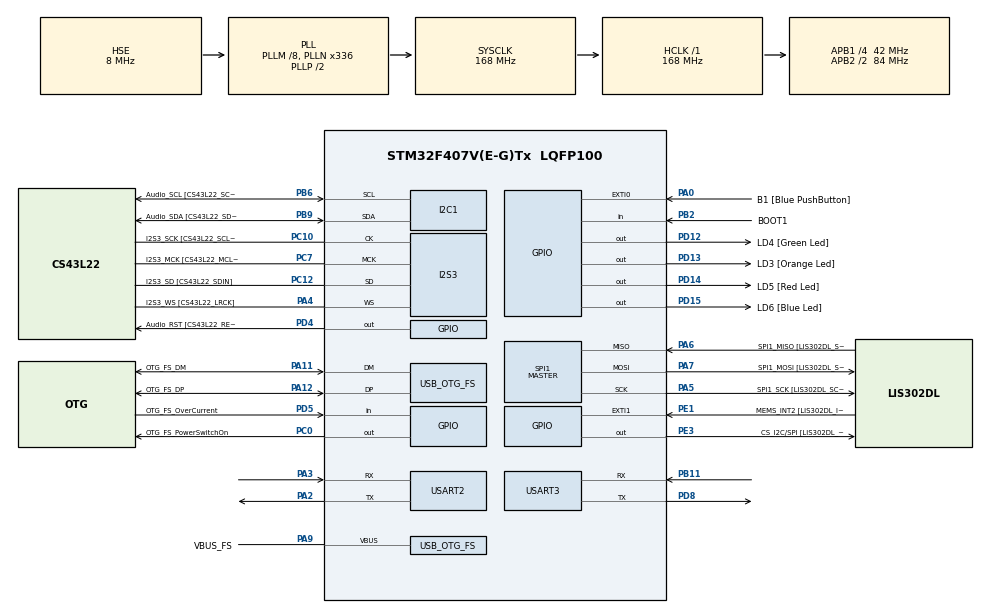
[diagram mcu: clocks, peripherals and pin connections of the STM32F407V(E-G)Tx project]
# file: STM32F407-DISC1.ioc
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I2S3.AudioFreq-Half_Duplex_Master=I2S_AUDIOFREQ_96K
I2S3.ErrorAudioFreq=-2.34 %
I2S3.ErrorAudioFreq-Half_Duplex_Master=0.8 %
I2S3.FullDuplexMode=I2S_FULLDUPLEXMODE_DISABLE
I2S3.Instance=SPI$Index
I2S3.RealAudioFreq=93.75 KHz
I2S3.RealAudioFreq-Half_Duplex_Master=96.774 KHz
I2S3.VirtualMode=I2S_MODE_MASTER
Mcu.Family=STM32F4
Mcu.Name=STM32F407V(E-G)Tx
Mcu.Package=LQFP100
NVIC.EXTI0_IRQn=true\:0\:0\:false\:false\:true\:true\:true\:true
NVIC.OTG_FS_IRQn=true\:0\:0\:false\:false\:true\:true\:true\:true
NVIC.PriorityGroup=NVIC_PRIORITYGROUP_0
NVIC.USART2_IRQn=true\:0\:0\:false\:false\:true\:true\:true\:true
NVIC.USART3_IRQn=true\:0\:0\:false\:false\:true\:true\:true\:true
PA0-WKUP.GPIO_Label=B1 [Blue PushButton]
PA0-WKUP.GPIO_ModeDefaultEXTI=GPIO_MODE_IT_RISING
PA0-WKUP.GPIO_PuPd=GPIO_NOPULL
PA0-WKUP.Signal=GPXTI0
PA10.GPIO_Label=OTG_FS_ID
PA10.GPIO_Mode=GPIO_MODE_AF_PP
PA10.GPIO_PuPd=GPIO_NOPULL
PA10.GPIO_Speed=GPIO_SPEED_FREQ_LOW
PA10.Signal=USB_OTG_FS_ID
PA11.GPIO_Label=OTG_FS_DM
PA11.GPIO_Mode=GPIO_MODE_AF_PP
PA11.GPIO_PuPd=GPIO_NOPULL
PA11.GPIO_Speed=GPIO_SPEED_FREQ_LOW
PA11.Mode=Host_Only
PA11.Signal=USB_OTG_FS_DM
PA12.GPIO_Label=OTG_FS_DP
PA12.GPIO_Mode=GPIO_MODE_AF_PP
PA12.GPIO_PuPd=GPIO_NOPULL
PA12.GPIO_Speed=GPIO_SPEED_FREQ_LOW
PA12.Mode=Host_Only
PA12.Signal=USB_OTG_FS_DP
PA13.GPIO_Label=SWDIO
PA13.Mode=Serial_Wire
PA13.Signal=SYS_JTMS-SWDIO
PA14.GPIO_Label=SWCLK
PA14.Mode=Serial_Wire
PA14.Signal=SYS_JTCK-SWCLK
PA2.Mode=Asynchronous
PA2.Signal=USART2_TX
PA3.GPIO_PuPd=GPIO_PULLUP
PA3.Mode=Asynchronous
PA3.Signal=USART2_RX
PA4.GPIO_Label=I2S3_WS [CS43L22_LRCK]
PA4.GPIO_Mode=GPIO_MODE_AF_PP
PA4.GPIO_PuPd=GPIO_NOPULL
PA4.GPIO_Speed=GPIO_SPEED_FREQ_LOW
PA4.Mode=Half_Duplex_Master
PA4.Signal=I2S3_WS
PA5.GPIO_Label=SPI1_SCK [LIS302DL_SCL/SPC]
PA5.GPIO_Mode=GPIO_MODE_AF_PP
PA5.GPIO_PuPd=GPIO_NOPULL
PA5.GPIO_Speed=GPIO_SPEED_FREQ_LOW
PA5.Mode=Full_Duplex_Master
PA5.Signal=SPI1_SCK
PA6.GPIO_Label=SPI1_MISO [LIS302DL_SDO]
PA6.GPIO_Mode=GPIO_MODE_AF_PP
PA6.GPIO_PuPd=GPIO_NOPULL
PA6.GPIO_Speed=GPIO_SPEED_FREQ_LOW
PA6.Mode=Full_Duplex_Master
PA6.Signal=SPI1_MISO
PA7.GPIO_Label=SPI1_MOSI [LIS302DL_SDA/SDI/SDO]
PA7.GPIO_Mode=GPIO_MODE_AF_PP
PA7.GPIO_PuPd=GPIO_NOPULL
PA7.GPIO_Speed=GPIO_SPEED_FREQ_LOW
PA7.Mode=Full_Duplex_Master
PA7.Signal=SPI1_MOSI
PA9.GPIO_Label=VBUS_FS
PA9.GPIO_Mode=GPIO_MODE_INPUT
PA9.GPIO_PuPd=GPIO_NOPULL
PA9.Mode=Activate_VBUS
PA9.Signal=USB_OTG_FS_VBUS
PB10.GPIO_Label=CLK_IN [MP45DT02_CLK]
PB10.GPIO_Mode=GPIO_MODE_AF_PP
PB10.GPIO_PuPd=GPIO_NOPULL
PB10.GPIO_Speed=GPIO_SPEED_FREQ_LOW
PB10.Signal=I2S2_CK
PB11.Mode=Asynchronous
PB11.Signal=USART3_RX
PB2.GPIO_Label=BOOT1
PB2.GPIO_Mode=GPIO_MODE_INPUT
PB2.GPIO_PuPd=GPIO_NOPULL
PB2.Signal=GPIO_Input
PB3.GPIO_Label=SWO
PB3.Signal=SYS_JTDO-SWO
PB6.GPIO_Label=Audio_SCL [CS43L22_SCL]
PB6.GPIO_Mode=GPIO_MODE_AF_OD
PB6.GPIO_Pu=GPIO_PULLUP
PB6.GPIO_PuPd=GPIO_NOPULL
PB6.GPIO_Speed=GPIO_SPEED_FREQ_LOW
PB6.Mode=I2C
PB6.Signal=I2C1_SCL
PB9.GPIO_Label=Audio_SDA [CS43L22_SDA]
PB9.GPIO_Mode=GPIO_MODE_AF_OD
PB9.GPIO_Pu=GPIO_PULLUP
PB9.GPIO_PuPd=GPIO_NOPULL
PB9.GPIO_Speed=GPIO_SPEED_FREQ_LOW
PB9.Mode=I2C
PB9.Signal=I2C1_SDA
PC0.GPIO_Label=OTG_FS_PowerSwitchOn
PC0.GPIO_PuPd=GPIO_NOPULL
PC0.GPIO_Speed=GPIO_SPEED_FREQ_LOW
PC0.PinState=GPIO_PIN_SET
PC0.Signal=GPIO_Output
PC10.GPIO_Label=I2S3_SCK [CS43L22_SCLK]
PC10.GPIO_Mode=GPIO_MODE_AF_PP
PC10.GPIO_PuPd=GPIO_NOPULL
PC10.GPIO_Speed=GPIO_SPEED_FREQ_LOW
PC10.Mode=Half_Duplex_Master
PC10.Signal=I2S3_CK
PC12.GPIO_Label=I2S3_SD [CS43L22_SDIN]
PC12.GPIO_Mode=GPIO_MODE_AF_PP
PC12.GPIO_PuPd=GPIO_NOPULL
PC12.GPIO_Speed=GPIO_SPEED_FREQ_LOW
PC12.Mode=Half_Duplex_Master
PC12.Signal=I2S3_SD
PC14-OSC32_IN.GPIO_Label=PC14-OSC32_IN
PC14-OSC32_IN.Mode=LSE-External-Oscillator
PC14-OSC32_IN.Signal=RCC_OSC32_IN
PC15-OSC32_OUT.GPIO_Label=PC15-OSC32_OUT
PC15-OSC32_OUT.Mode=LSE-External-Oscillator
PC15-OSC32_OUT.Signal=RCC_OSC32_OUT
PC3.GPIO_Label=PDM_OUT [MP45DT02_DOUT]
PC3.GPIO_Mode=GPIO_MODE_AF_PP
PC3.GPIO_PuPd=GPIO_NOPULL
PC3.GPIO_Speed=GPIO_SPEED_FREQ_LOW
PC3.Signal=I2S2_SD
PC7.GPIO_Label=I2S3_MCK [CS43L22_MCLK]
PC7.GPIO_Mode=GPIO_MODE_AF_PP
PC7.GPIO_PuPd=GPIO_NOPULL
PC7.GPIO_Speed=GPIO_SPEED_FREQ_LOW
PC7.Mode=Master_Clock_Activated
PC7.Signal=I2S3_MCK
PD12.GPIO_Label=LD4 [Green Led]
PD12.GPIO_PuPd=GPIO_NOPULL
PD12.GPIO_Speed=GPIO_SPEED_FREQ_LOW
PD12.Signal=GPIO_Output
PD13.GPIO_Label=LD3 [Orange Led]
PD13.GPIO_PuPd=GPIO_NOPULL
PD13.GPIO_Speed=GPIO_SPEED_FREQ_LOW
PD13.Signal=GPIO_Output
PD14.GPIO_Label=LD5 [Red Led]
PD14.GPIO_PuPd=GPIO_NOPULL
PD14.GPIO_Speed=GPIO_SPEED_FREQ_LOW
PD14.Signal=GPIO_Output
PD15.GPIO_Label=LD6 [Blue Led]
PD15.GPIO_PuPd=GPIO_NOPULL
PD15.GPIO_Speed=GPIO_SPEED_FREQ_LOW
PD15.Signal=GPIO_Output
PD4.GPIO_Label=Audio_RST [CS43L22_RESET]
PD4.GPIO_PuPd=GPIO_NOPULL
PD4.GPIO_Speed=GPIO_SPEED_FREQ_LOW
PD4.Signal=GPIO_Output
PD5.GPIO_Label=OTG_FS_OverCurrent
PD5.GPIO_Mode=GPIO_MODE_INPUT
PD5.GPIO_PuPd=GPIO_NOPULL
PD5.Signal=GPIO_Input
PD8.Mode=Asynchronous
PD8.Signal=USART3_TX
PE1.GPIO_Label=MEMS_INT2 [LIS302DL_INT2]
PE1.GPIO_ModeDefaultEXTI=GPIO_MODE_EVT_RISING
PE1.GPIO_PuPd=GPIO_NOPULL
PE1.Signal=GPXTI1
PE3.GPIO_Label=CS_I2C/SPI [LIS302DL_CS_I2C/SPI]
PE3.GPIO_PuPd=GPIO_NOPULL
PE3.GPIO_Speed=GPIO_SPEED_FREQ_LOW
PE3.Signal=GPIO_Output
PH0-OSC_IN.GPIO_Label=PH0-OSC_IN
PH0-OSC_IN.Mode=HSE-External-Oscillator
PH0-OSC_IN.Signal=RCC_OSC_IN
PH1-OSC_OUT.GPIO_Label=PH1-OSC_OUT
PH1-OSC_OUT.Mode=HSE-External-Oscillator
PH1-OSC_OUT.Signal=RCC_OSC_OUT
ProjectManager.HeapSize=0x200
ProjectManager.StackSize=0x400
ProjectManager.TargetToolchain=STM32CubeIDE
RCC.48MHZClocksFreq_Value=48000000
RCC.AHBFreq_Value=168000000
RCC.APB1CLKDivider=RCC_HCLK_DIV4
RCC.APB1Freq_Value=42000000
RCC.APB1TimFreq_Value=84000000
RCC.APB2CLKDivider=RCC_HCLK_DIV2
RCC.APB2Freq_Value=84000000
RCC.APB2TimFreq_Value=168000000
RCC.CortexFreq_Value=168000000
RCC.HCLKFreq_Value=168000000
RCC.HSE_VALUE=8000000
RCC.HSI_VALUE=16000000
RCC.PLLM=8
RCC.PLLN=336
RCC.PLLQ=7
RCC.SYSCLKFreq_VALUE=168000000
RCC.SYSCLKSource=RCC_SYSCLKSOURCE_PLLCLK
RCC.VCOOutputFreq_Value=336000000
SPI1.BaudRatePrescaler-Full_Duplex_Master=SPI_BAUDRATEPRESCALER_2
SPI1.CalculateBaudRate-Full_Duplex_Master=42.0 MBits/s
SPI1.Direction=SPI_DIRECTION_2LINES
SPI1.Mode=SPI_MODE_MASTER
SPI1.Mode-Full_Duplex_Master=SPI_MODE_MASTER
SPI1.VirtualType=VM_MASTER
USART2.VirtualMode=VM_ASYNC
USART3.VirtualMode=VM_ASYNC
USB_HOST.BSP.number=1
USB_HOST.USBH_HandleTypeDef-CDC_FS=hUsbHostFS
USB_HOST.VirtualModeFS=Cdc
USB_HOST0.BSP.STBoard=false
USB_HOST0.BSP.api=Unknown
USB_HOST0.BSP.instance=PC0
USB_HOST0.BSP.ip=GPIO
USB_HOST0.BSP.mode=Output
USB_HOST0.BSP.name=Drive_VBUS_FS
USB_HOST0.BSP.solution=PC0
USB_OTG_FS.VirtualMode=Host_Only
USB_OTG_FS.phy_itface=HCD_PHY_EMBEDDED
VP_USB_HOST_VS_USB_HOST_CDC_FS.Mode=CDC_FS
board=STM32F407G-DISC1

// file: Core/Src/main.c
/* USER CODE BEGIN Header */
/**
  ******************************************************************************
  * @file           : main.c
  * @brief          : Main program body
  ******************************************************************************
  * @attention
  *
  * Copyright (c) 2025 STMicroelectronics.
  * All rights reserved.
  *
  * This software is licensed under terms that can be found in the LICENSE file
  * in the root directory of this software component.
  * If no LICENSE file comes with this software, it is provided AS-IS.
  *
  ******************************************************************************
  */
/* USER CODE END Header */
#include "main.h"
#include "usb_host.h"

/* USER CODE BEGIN Includes */
#include "string.h"
#include "stdio.h"
/* USER CODE END Includes */

I2C_HandleTypeDef hi2c1;

I2S_HandleTypeDef hi2s3;

SPI_HandleTypeDef hspi1;

UART_HandleTypeDef huart2;
UART_HandleTypeDef huart3;

/* USER CODE BEGIN PV */
uint8_t msg1[] = "Some Message\r\n";
uint8_t msg2[] = "Another Message\r\n";
uint8_t msg3[] = "Final Message\r\n";
uint8_t msg_counter = 0;
uint32_t current_time = 0;
uint32_t last_button_press_time = 0;

uint8_t rx_ch;
uint8_t rx_buffer[100];
uint8_t idx = 0;
uint8_t ack[200];
/* USER CODE END PV */

void SystemClock_Config(void);
static void MX_GPIO_Init(void);
static void MX_I2C1_Init(void);
static void MX_I2S3_Init(void);
static void MX_SPI1_Init(void);
static void MX_USART2_UART_Init(void);
static void MX_USART3_UART_Init(void);
void MX_USB_HOST_Process(void);

/* USER CODE BEGIN PFP */
void HAL_GPIO_EXTI_Callback(uint16_t GPIO_Pin)
{
	current_time = HAL_GetTick();
	if(current_time - last_button_press_time > 200)
	{
		HAL_GPIO_TogglePin(GPIOD, GPIO_PIN_12);
		if(msg_counter%3==0)
		{
			HAL_UART_Transmit_IT(&huart2, msg1, strlen((const char*)msg1));
		}
		else if(msg_counter%3==1)
		{
			HAL_UART_Transmit_IT(&huart2, msg2, strlen((const char*)msg2));
		}
		else
		{
			HAL_UART_Transmit_IT(&huart2, msg3, strlen((const char*)msg3));
		}
		msg_counter++;
		last_button_press_time = current_time;
	}
}

void HAL_UART_RxCpltCallback(UART_HandleTypeDef *huart)
{
	if(rx_ch!='\n')
	{
		rx_buffer[idx++] = rx_ch;
	}
	else
	{
		rx_buffer[idx++] = '\n';
		rx_buffer[idx] = '\0';
		sprintf(ack, "Received by F407G - %s", rx_buffer);
		HAL_UART_Transmit_IT(&huart3, ack, strlen((const char*)ack));
		idx=0;
	}
	HAL_UART_Receive_IT(&huart2, &rx_ch, 1);
}
/* USER CODE END PFP */

int main(void)
{

  /* MCU Configuration--------------------------------------------------------*/

  /* Reset of all peripherals, Initializes the Flash interface and the Systick. */
  HAL_Init();

  /* Configure the system clock */
  SystemClock_Config();

  /* Initialize all configured peripherals */
  MX_GPIO_Init();
  MX_I2C1_Init();
  MX_I2S3_Init();
  MX_SPI1_Init();
  MX_USB_HOST_Init();
  MX_USART2_UART_Init();
  MX_USART3_UART_Init();
  /* USER CODE BEGIN 2 */
  HAL_UART_Receive_IT(&huart2, &rx_ch, 1);
  /* USER CODE END 2 */

  /* Infinite loop */
  while (1)
  {
    MX_USB_HOST_Process();

  }
}

void SystemClock_Config(void)
{
  RCC_OscInitTypeDef RCC_OscInitStruct = {0};
  RCC_ClkInitTypeDef RCC_ClkInitStruct = {0};

  /** Configure the main internal regulator output voltage
  */
  __HAL_RCC_PWR_CLK_ENABLE();
  __HAL_PWR_VOLTAGESCALING_CONFIG(PWR_REGULATOR_VOLTAGE_SCALE1);

  /** Initializes the RCC Oscillators according to the specified parameters
  * in the RCC_OscInitTypeDef structure.
  */
  RCC_OscInitStruct.OscillatorType = RCC_OSCILLATORTYPE_HSE;
  RCC_OscInitStruct.HSEState = RCC_HSE_ON;
  RCC_OscInitStruct.PLL.PLLState = RCC_PLL_ON;
  RCC_OscInitStruct.PLL.PLLSource = RCC_PLLSOURCE_HSE;
  RCC_OscInitStruct.PLL.PLLM = 8;
  RCC_OscInitStruct.PLL.PLLN = 336;
  RCC_OscInitStruct.PLL.PLLP = RCC_PLLP_DIV2;
  RCC_OscInitStruct.PLL.PLLQ = 7;
  if (HAL_RCC_OscConfig(&RCC_OscInitStruct) != HAL_OK)
  {
    Error_Handler();
  }

  /** Initializes the CPU, AHB and APB buses clocks
  */
  RCC_ClkInitStruct.ClockType = RCC_CLOCKTYPE_HCLK|RCC_CLOCKTYPE_SYSCLK
                              |RCC_CLOCKTYPE_PCLK1|RCC_CLOCKTYPE_PCLK2;
  RCC_ClkInitStruct.SYSCLKSource = RCC_SYSCLKSOURCE_PLLCLK;
  RCC_ClkInitStruct.AHBCLKDivider = RCC_SYSCLK_DIV1;
  RCC_ClkInitStruct.APB1CLKDivider = RCC_HCLK_DIV4;
  RCC_ClkInitStruct.APB2CLKDivider = RCC_HCLK_DIV2;

  if (HAL_RCC_ClockConfig(&RCC_ClkInitStruct, FLASH_LATENCY_5) != HAL_OK)
  {
    Error_Handler();
  }
}

static void MX_I2C1_Init(void)
{

  hi2c1.Instance = I2C1;
  hi2c1.Init.ClockSpeed = 100000;
  hi2c1.Init.DutyCycle = I2C_DUTYCYCLE_2;
  hi2c1.Init.OwnAddress1 = 0;
  hi2c1.Init.AddressingMode = I2C_ADDRESSINGMODE_7BIT;
  hi2c1.Init.DualAddressMode = I2C_DUALADDRESS_DISABLE;
  hi2c1.Init.OwnAddress2 = 0;
  hi2c1.Init.GeneralCallMode = I2C_GENERALCALL_DISABLE;
  hi2c1.Init.NoStretchMode = I2C_NOSTRETCH_DISABLE;
  if (HAL_I2C_Init(&hi2c1) != HAL_OK)
  {
    Error_Handler();
  }

}

static void MX_I2S3_Init(void)
{

  hi2s3.Instance = SPI3;
  hi2s3.Init.Mode = I2S_MODE_MASTER_TX;
  hi2s3.Init.Standard = I2S_STANDARD_PHILIPS;
  hi2s3.Init.DataFormat = I2S_DATAFORMAT_16B;
  hi2s3.Init.MCLKOutput = I2S_MCLKOUTPUT_ENABLE;
  hi2s3.Init.AudioFreq = I2S_AUDIOFREQ_96K;
  hi2s3.Init.CPOL = I2S_CPOL_LOW;
  hi2s3.Init.ClockSource = I2S_CLOCK_PLL;
  hi2s3.Init.FullDuplexMode = I2S_FULLDUPLEXMODE_DISABLE;
  if (HAL_I2S_Init(&hi2s3) != HAL_OK)
  {
    Error_Handler();
  }

}

static void MX_SPI1_Init(void)
{

  /* SPI1 parameter configuration*/
  hspi1.Instance = SPI1;
  hspi1.Init.Mode = SPI_MODE_MASTER;
  hspi1.Init.Direction = SPI_DIRECTION_2LINES;
  hspi1.Init.DataSize = SPI_DATASIZE_8BIT;
  hspi1.Init.CLKPolarity = SPI_POLARITY_LOW;
  hspi1.Init.CLKPhase = SPI_PHASE_1EDGE;
  hspi1.Init.NSS = SPI_NSS_SOFT;
  hspi1.Init.BaudRatePrescaler = SPI_BAUDRATEPRESCALER_2;
  hspi1.Init.FirstBit = SPI_FIRSTBIT_MSB;
  hspi1.Init.TIMode = SPI_TIMODE_DISABLE;
  hspi1.Init.CRCCalculation = SPI_CRCCALCULATION_DISABLE;
  hspi1.Init.CRCPolynomial = 10;
  if (HAL_SPI_Init(&hspi1) != HAL_OK)
  {
    Error_Handler();
  }

}

static void MX_USART2_UART_Init(void)
{

  huart2.Instance = USART2;
  huart2.Init.BaudRate = 115200;
  huart2.Init.WordLength = UART_WORDLENGTH_8B;
  huart2.Init.StopBits = UART_STOPBITS_1;
  huart2.Init.Parity = UART_PARITY_NONE;
  huart2.Init.Mode = UART_MODE_TX_RX;
  huart2.Init.HwFlowCtl = UART_HWCONTROL_NONE;
  huart2.Init.OverSampling = UART_OVERSAMPLING_16;
  if (HAL_UART_Init(&huart2) != HAL_OK)
  {
    Error_Handler();
  }

}

static void MX_USART3_UART_Init(void)
{

  huart3.Instance = USART3;
  huart3.Init.BaudRate = 115200;
  huart3.Init.WordLength = UART_WORDLENGTH_8B;
  huart3.Init.StopBits = UART_STOPBITS_1;
  huart3.Init.Parity = UART_PARITY_NONE;
  huart3.Init.Mode = UART_MODE_TX_RX;
  huart3.Init.HwFlowCtl = UART_HWCONTROL_NONE;
  huart3.Init.OverSampling = UART_OVERSAMPLING_16;
  if (HAL_UART_Init(&huart3) != HAL_OK)
  {
    Error_Handler();
  }

}

static void MX_GPIO_Init(void)
{
  GPIO_InitTypeDef GPIO_InitStruct = {0};

  /* GPIO Ports Clock Enable */
  __HAL_RCC_GPIOE_CLK_ENABLE();
  __HAL_RCC_GPIOC_CLK_ENABLE();
  __HAL_RCC_GPIOH_CLK_ENABLE();
  __HAL_RCC_GPIOA_CLK_ENABLE();
  __HAL_RCC_GPIOB_CLK_ENABLE();
  __HAL_RCC_GPIOD_CLK_ENABLE();

  /*Configure GPIO pin Output Level */
  HAL_GPIO_WritePin(CS_I2C_SPI_GPIO_Port, CS_I2C_SPI_Pin, GPIO_PIN_RESET);

  /*Configure GPIO pin Output Level */
  HAL_GPIO_WritePin(OTG_FS_PowerSwitchOn_GPIO_Port, OTG_FS_PowerSwitchOn_Pin, GPIO_PIN_SET);

  /*Configure GPIO pin Output Level */
  HAL_GPIO_WritePin(GPIOD, LD4_Pin|LD3_Pin|LD5_Pin|LD6_Pin
                          |Audio_RST_Pin, GPIO_PIN_RESET);

  /*Configure GPIO pin : CS_I2C_SPI_Pin */
  GPIO_InitStruct.Pin = CS_I2C_SPI_Pin;
  GPIO_InitStruct.Mode = GPIO_MODE_OUTPUT_PP;
  GPIO_InitStruct.Pull = GPIO_NOPULL;
  GPIO_InitStruct.Speed = GPIO_SPEED_FREQ_LOW;
  HAL_GPIO_Init(CS_I2C_SPI_GPIO_Port, &GPIO_InitStruct);

  /*Configure GPIO pin : OTG_FS_PowerSwitchOn_Pin */
  GPIO_InitStruct.Pin = OTG_FS_PowerSwitchOn_Pin;
  GPIO_InitStruct.Mode = GPIO_MODE_OUTPUT_PP;
  GPIO_InitStruct.Pull = GPIO_NOPULL;
  GPIO_InitStruct.Speed = GPIO_SPEED_FREQ_LOW;
  HAL_GPIO_Init(OTG_FS_PowerSwitchOn_GPIO_Port, &GPIO_InitStruct);

  /*Configure GPIO pin : PDM_OUT_Pin */
  GPIO_InitStruct.Pin = PDM_OUT_Pin;
  GPIO_InitStruct.Mode = GPIO_MODE_AF_PP;
  GPIO_InitStruct.Pull = GPIO_NOPULL;
  GPIO_InitStruct.Speed = GPIO_SPEED_FREQ_LOW;
  GPIO_InitStruct.Alternate = GPIO_AF5_SPI2;
  HAL_GPIO_Init(PDM_OUT_GPIO_Port, &GPIO_InitStruct);

  /*Configure GPIO pin : B1_Pin */
  GPIO_InitStruct.Pin = B1_Pin;
  GPIO_InitStruct.Mode = GPIO_MODE_IT_RISING;
  GPIO_InitStruct.Pull = GPIO_NOPULL;
  HAL_GPIO_Init(B1_GPIO_Port, &GPIO_InitStruct);

  /*Configure GPIO pin : BOOT1_Pin */
  GPIO_InitStruct.Pin = BOOT1_Pin;
  GPIO_InitStruct.Mode = GPIO_MODE_INPUT;
  GPIO_InitStruct.Pull = GPIO_NOPULL;
  HAL_GPIO_Init(BOOT1_GPIO_Port, &GPIO_InitStruct);

  /*Configure GPIO pin : CLK_IN_Pin */
  GPIO_InitStruct.Pin = CLK_IN_Pin;
  GPIO_InitStruct.Mode = GPIO_MODE_AF_PP;
  GPIO_InitStruct.Pull = GPIO_NOPULL;
  GPIO_InitStruct.Speed = GPIO_SPEED_FREQ_LOW;
  GPIO_InitStruct.Alternate = GPIO_AF5_SPI2;
  HAL_GPIO_Init(CLK_IN_GPIO_Port, &GPIO_InitStruct);

  /*Configure GPIO pins : LD4_Pin LD3_Pin LD5_Pin LD6_Pin
                           Audio_RST_Pin */
  GPIO_InitStruct.Pin = LD4_Pin|LD3_Pin|LD5_Pin|LD6_Pin
                          |Audio_RST_Pin;
  GPIO_InitStruct.Mode = GPIO_MODE_OUTPUT_PP;
  GPIO_InitStruct.Pull = GPIO_NOPULL;
  GPIO_InitStruct.Speed = GPIO_SPEED_FREQ_LOW;
  HAL_GPIO_Init(GPIOD, &GPIO_InitStruct);

  /*Configure GPIO pin : OTG_FS_OverCurrent_Pin */
  GPIO_InitStruct.Pin = OTG_FS_OverCurrent_Pin;
  GPIO_InitStruct.Mode = GPIO_MODE_INPUT;
  GPIO_InitStruct.Pull = GPIO_NOPULL;
  HAL_GPIO_Init(OTG_FS_OverCurrent_GPIO_Port, &GPIO_InitStruct);

  /*Configure GPIO pin : MEMS_INT2_Pin */
  GPIO_InitStruct.Pin = MEMS_INT2_Pin;
  GPIO_InitStruct.Mode = GPIO_MODE_EVT_RISING;
  GPIO_InitStruct.Pull = GPIO_NOPULL;
  HAL_GPIO_Init(MEMS_INT2_GPIO_Port, &GPIO_InitStruct);

  /* EXTI interrupt init*/
  HAL_NVIC_SetPriority(EXTI0_IRQn, 0, 0);
  HAL_NVIC_EnableIRQ(EXTI0_IRQn);

}

void Error_Handler(void)
{
  __disable_irq();
  while (1)
  {
  }
}
